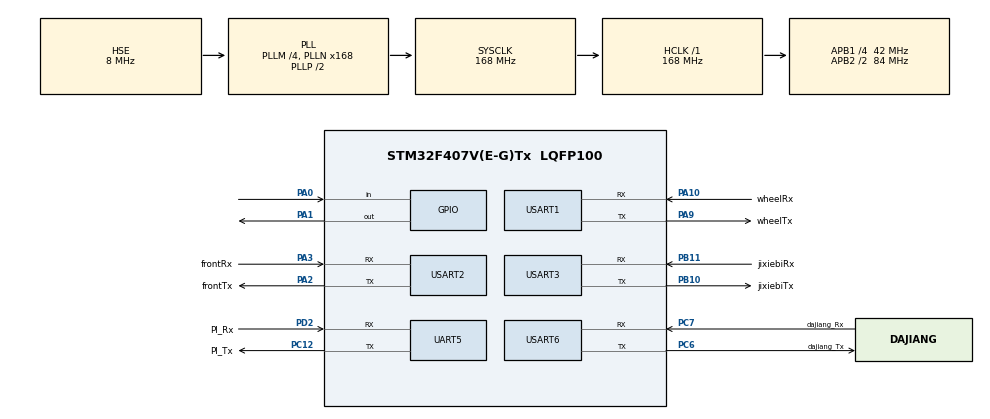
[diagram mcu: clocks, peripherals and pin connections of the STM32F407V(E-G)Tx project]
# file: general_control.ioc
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Dma.Request0=USART1_TX
Dma.Request1=USART2_TX
Dma.Request2=USART1_RX
Dma.Request3=USART2_RX
Dma.Request4=USART3_RX
Dma.Request5=USART3_TX
Dma.Request6=USART6_RX
Dma.Request7=USART6_TX
Dma.USART1_RX.2.Direction=DMA_PERIPH_TO_MEMORY
Dma.USART1_RX.2.FIFOMode=DMA_FIFOMODE_DISABLE
Dma.USART1_RX.2.Instance=DMA2_Stream2
Dma.USART1_RX.2.MemDataAlignment=DMA_MDATAALIGN_BYTE
Dma.USART1_RX.2.MemInc=DMA_MINC_ENABLE
Dma.USART1_RX.2.Mode=DMA_NORMAL
Dma.USART1_RX.2.PeriphDataAlignment=DMA_PDATAALIGN_BYTE
Dma.USART1_RX.2.PeriphInc=DMA_PINC_DISABLE
Dma.USART1_RX.2.Priority=DMA_PRIORITY_LOW
Dma.USART1_TX.0.Direction=DMA_MEMORY_TO_PERIPH
Dma.USART1_TX.0.FIFOMode=DMA_FIFOMODE_DISABLE
Dma.USART1_TX.0.Instance=DMA2_Stream7
Dma.USART1_TX.0.MemDataAlignment=DMA_MDATAALIGN_BYTE
Dma.USART1_TX.0.MemInc=DMA_MINC_ENABLE
Dma.USART1_TX.0.Mode=DMA_NORMAL
Dma.USART1_TX.0.PeriphDataAlignment=DMA_PDATAALIGN_BYTE
Dma.USART1_TX.0.PeriphInc=DMA_PINC_DISABLE
Dma.USART1_TX.0.Priority=DMA_PRIORITY_LOW
Dma.USART2_RX.3.Direction=DMA_PERIPH_TO_MEMORY
Dma.USART2_RX.3.FIFOMode=DMA_FIFOMODE_DISABLE
Dma.USART2_RX.3.Instance=DMA1_Stream5
Dma.USART2_RX.3.MemDataAlignment=DMA_MDATAALIGN_BYTE
Dma.USART2_RX.3.MemInc=DMA_MINC_ENABLE
Dma.USART2_RX.3.Mode=DMA_NORMAL
Dma.USART2_RX.3.PeriphDataAlignment=DMA_PDATAALIGN_BYTE
Dma.USART2_RX.3.PeriphInc=DMA_PINC_DISABLE
Dma.USART2_RX.3.Priority=DMA_PRIORITY_LOW
Dma.USART2_TX.1.Direction=DMA_MEMORY_TO_PERIPH
Dma.USART2_TX.1.FIFOMode=DMA_FIFOMODE_DISABLE
Dma.USART2_TX.1.Instance=DMA1_Stream6
Dma.USART2_TX.1.MemDataAlignment=DMA_MDATAALIGN_BYTE
Dma.USART2_TX.1.MemInc=DMA_MINC_ENABLE
Dma.USART2_TX.1.Mode=DMA_NORMAL
Dma.USART2_TX.1.PeriphDataAlignment=DMA_PDATAALIGN_BYTE
Dma.USART2_TX.1.PeriphInc=DMA_PINC_DISABLE
Dma.USART2_TX.1.Priority=DMA_PRIORITY_LOW
Dma.USART3_RX.4.Direction=DMA_PERIPH_TO_MEMORY
Dma.USART3_RX.4.FIFOMode=DMA_FIFOMODE_DISABLE
Dma.USART3_RX.4.Instance=DMA1_Stream1
Dma.USART3_RX.4.MemDataAlignment=DMA_MDATAALIGN_BYTE
Dma.USART3_RX.4.MemInc=DMA_MINC_ENABLE
Dma.USART3_RX.4.Mode=DMA_NORMAL
Dma.USART3_RX.4.PeriphDataAlignment=DMA_PDATAALIGN_BYTE
Dma.USART3_RX.4.PeriphInc=DMA_PINC_DISABLE
Dma.USART3_RX.4.Priority=DMA_PRIORITY_LOW
Dma.USART3_TX.5.Direction=DMA_MEMORY_TO_PERIPH
Dma.USART3_TX.5.FIFOMode=DMA_FIFOMODE_DISABLE
Dma.USART3_TX.5.Instance=DMA1_Stream3
Dma.USART3_TX.5.MemDataAlignment=DMA_MDATAALIGN_BYTE
Dma.USART3_TX.5.MemInc=DMA_MINC_ENABLE
Dma.USART3_TX.5.Mode=DMA_NORMAL
Dma.USART3_TX.5.PeriphDataAlignment=DMA_PDATAALIGN_BYTE
Dma.USART3_TX.5.PeriphInc=DMA_PINC_DISABLE
Dma.USART3_TX.5.Priority=DMA_PRIORITY_LOW
Dma.USART6_RX.6.Direction=DMA_PERIPH_TO_MEMORY
Dma.USART6_RX.6.FIFOMode=DMA_FIFOMODE_DISABLE
Dma.USART6_RX.6.Instance=DMA2_Stream1
Dma.USART6_RX.6.MemDataAlignment=DMA_MDATAALIGN_BYTE
Dma.USART6_RX.6.MemInc=DMA_MINC_ENABLE
Dma.USART6_RX.6.Mode=DMA_NORMAL
Dma.USART6_RX.6.PeriphDataAlignment=DMA_PDATAALIGN_BYTE
Dma.USART6_RX.6.PeriphInc=DMA_PINC_DISABLE
Dma.USART6_RX.6.Priority=DMA_PRIORITY_LOW
Dma.USART6_TX.7.Direction=DMA_MEMORY_TO_PERIPH
Dma.USART6_TX.7.FIFOMode=DMA_FIFOMODE_DISABLE
Dma.USART6_TX.7.Instance=DMA2_Stream6
Dma.USART6_TX.7.MemDataAlignment=DMA_MDATAALIGN_BYTE
Dma.USART6_TX.7.MemInc=DMA_MINC_ENABLE
Dma.USART6_TX.7.Mode=DMA_NORMAL
Dma.USART6_TX.7.PeriphDataAlignment=DMA_PDATAALIGN_BYTE
Dma.USART6_TX.7.PeriphInc=DMA_PINC_DISABLE
Dma.USART6_TX.7.Priority=DMA_PRIORITY_LOW
Mcu.Family=STM32F4
Mcu.Name=STM32F407V(E-G)Tx
Mcu.Package=LQFP100
NVIC.DMA1_Stream1_IRQn=true\:0\:0\:false\:false\:true\:false\:true\:true
NVIC.DMA1_Stream3_IRQn=true\:0\:0\:false\:false\:true\:false\:true\:true
NVIC.DMA1_Stream5_IRQn=true\:0\:0\:false\:false\:true\:false\:true\:true
NVIC.DMA1_Stream6_IRQn=true\:0\:0\:false\:false\:true\:false\:true\:true
NVIC.DMA2_Stream1_IRQn=true\:0\:0\:false\:false\:true\:false\:true\:true
NVIC.DMA2_Stream2_IRQn=true\:0\:0\:false\:false\:true\:false\:true\:true
NVIC.DMA2_Stream6_IRQn=true\:0\:0\:false\:false\:true\:false\:true\:true
NVIC.DMA2_Stream7_IRQn=true\:0\:0\:false\:false\:true\:false\:true\:true
NVIC.PriorityGroup=NVIC_PRIORITYGROUP_4
NVIC.USART1_IRQn=true\:0\:0\:false\:false\:true\:true\:true\:true
NVIC.USART2_IRQn=true\:0\:0\:false\:false\:true\:true\:true\:true
NVIC.USART3_IRQn=true\:0\:0\:false\:false\:true\:true\:true\:true
NVIC.USART6_IRQn=true\:0\:0\:false\:false\:true\:true\:true\:true
PA0-WKUP.GPIO_PuPd=GPIO_PULLDOWN
PA0-WKUP.Signal=GPIO_Input
PA1.GPIO_PuPd=GPIO_PULLDOWN
PA1.Signal=GPIO_Output
PA10.GPIO_Label=wheelRx
PA10.Mode=Asynchronous
PA10.Signal=USART1_RX
PA13.Mode=Serial_Wire
PA13.Signal=SYS_JTMS-SWDIO
PA14.Mode=Serial_Wire
PA14.Signal=SYS_JTCK-SWCLK
PA2.GPIO_Label=frontTx
PA2.Mode=Asynchronous
PA2.Signal=USART2_TX
PA3.GPIO_Label=frontRx
PA3.Mode=Asynchronous
PA3.Signal=USART2_RX
PA9.GPIO_Label=wheelTx
PA9.Mode=Asynchronous
PA9.Signal=USART1_TX
PB10.GPIO_Label=jixiebiTx
PB10.Mode=Asynchronous
PB10.Signal=USART3_TX
PB11.GPIO_Label=jixiebiRx
PB11.Mode=Asynchronous
PB11.Signal=USART3_RX
PC12.GPIO_Label=PI_Tx
PC12.Mode=Asynchronous
PC12.Signal=UART5_TX
PC6.GPIO_Label=dajiang_Tx
PC6.Mode=Asynchronous
PC6.Signal=USART6_TX
PC7.GPIO_Label=dajiang_Rx
PC7.Mode=Asynchronous
PC7.Signal=USART6_RX
PD2.GPIO_Label=PI_Rx
PD2.Mode=Asynchronous
PD2.Signal=UART5_RX
PH0-OSC_IN.Mode=HSE-External-Oscillator
PH0-OSC_IN.Signal=RCC_OSC_IN
PH1-OSC_OUT.Mode=HSE-External-Oscillator
PH1-OSC_OUT.Signal=RCC_OSC_OUT
ProjectManager.HeapSize=0x200
ProjectManager.StackSize=0x400
ProjectManager.TargetToolchain=MDK-ARM V5.32
RCC.48MHZClocksFreq_Value=84000000
RCC.AHBFreq_Value=168000000
RCC.APB1CLKDivider=RCC_HCLK_DIV4
RCC.APB1Freq_Value=42000000
RCC.APB1TimFreq_Value=84000000
RCC.APB2CLKDivider=RCC_HCLK_DIV2
RCC.APB2Freq_Value=84000000
RCC.APB2TimFreq_Value=168000000
RCC.CortexFreq_Value=168000000
RCC.HCLKFreq_Value=168000000
RCC.HSE_VALUE=8000000
RCC.HSI_VALUE=16000000
RCC.LSE_VALUE=32768
RCC.PLLM=4
RCC.PLLN=168
RCC.PLLSourceVirtual=RCC_PLLSOURCE_HSE
RCC.SYSCLKFreq_VALUE=168000000
RCC.SYSCLKSource=RCC_SYSCLKSOURCE_PLLCLK
RCC.VCOOutputFreq_Value=336000000
TIM2.Prescaler=16800-1
UART5.VirtualMode=Asynchronous
USART1.VirtualMode=VM_ASYNC
USART2.VirtualMode=VM_ASYNC
USART3.VirtualMode=VM_ASYNC
USART6.VirtualMode=VM_ASYNC
VP_TIM2_VS_ClockSourceINT.Mode=Internal
board=custom

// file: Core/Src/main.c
/* USER CODE BEGIN Header */
/**
  ******************************************************************************
  * @file           : main.c
  * @brief          : Main program body
  ******************************************************************************
  * @attention
  *
  * Copyright (c) 2025 STMicroelectronics.
  * All rights reserved.
  *
  * This software is licensed under terms that can be found in the LICENSE file
  * in the root directory of this software component.
  * If no LICENSE file comes with this software, it is provided AS-IS.
  *
  ******************************************************************************
  */
/* USER CODE END Header */
#include "main.h"
#include "dma.h"
#include "tim.h"
#include "usart.h"
#include "gpio.h"

/* USER CODE BEGIN Includes */
#include "stdlib.h"
#include "receive_from_pi.h"
#include "string.h"
/* USER CODE END Includes */

/* USER CODE BEGIN PTD */

// 机器人运行的主状�?
typedef enum {
	STATE_BEFORE_START,
    STATE_INIT,
    STATE_WAIT_RPI_DATA,
    STATE_PROCESS_TASK_DATA,
    STATE_START_ROBOT_POSE,
    STATE_WAIT_START_POSE_ACK,

    /* --- 以�?�列”为单位的循�? --- */
    STATE_GET_NEXT_COLUMN,          // 获取下一个要处理的货架列
    STATE_MOVE_TO_SHELF_COLUMN,     // 移动到目标货架列
    STATE_WAIT_MOVE_TO_SHELF_ACK,

    STATE_EXECUTE_DOUBLE_PICK,      // 执行“双取�?�动�?
    STATE_WAIT_DOUBLE_PICK_ACK,
	  STATE_OUTOFTIME,

    /* --- 处理第一个箱�? (上层箱子) --- */
    STATE_PLAN_TARGET_A_MOVE,       // 规划去往A目标(上层箱子)的移�?
    STATE_EXECUTE_MAJOR_MOVE_A,
    STATE_WAIT_MAJOR_MOVE_A_ACK,
//    STATE_EXECUTE_FINE_TUNE_MOVE_A,
//    STATE_WAIT_FINE_TUNE_MOVE_A_ACK,
    STATE_PLACE_BOX_A,              // 放置上层箱子
    STATE_WAIT_PLACE_BOX_A_ACK,

    /* --- 内部转接 --- */
//    STATE_EXECUTE_ARM_REGRAB,       // 执行机械臂从前爪的�?�转接�?�动�?
//    STATE_WAIT_ARM_REGRAB_ACK,

    /* --- 处理第二个箱�? (下层箱子) --- */
    STATE_PLAN_TARGET_B_MOVE,       // 规划去往B目标(下层箱子)的移�?
    STATE_EXECUTE_MAJOR_MOVE_B,
    STATE_WAIT_MAJOR_MOVE_B_ACK,
//    STATE_EXECUTE_FINE_TUNE_MOVE_B,
//    STATE_WAIT_FINE_TUNE_MOVE_B_ACK,
    STATE_PLACE_BOX_B,              // 放置下层箱子
    STATE_WAIT_PLACE_BOX_B_ACK,

    STATE_ALL_TASKS_COMPLETED,
		STATE_WAIT_OFF,
		STATE_SWITCH_OFF,
    STATE_ERROR
} RobotState_t;

typedef enum {
    ROBOT_POS_UNKNOWN,         // 未知位置
    ROBOT_POS_SHELF,           // 在货架区
    ROBOT_POS_SIDE_AREA,       // 在侧方放置区 (对应1, 6号纸�?)
    ROBOT_POS_FRONT_AREA,      // 在前方放置区 (对应2, 3, 4, 5号纸�?)
} RobotPosition_t;

// 封装�?有任务信息的结构�?
typedef struct {
	  int shelf_to_target[7];         // 货架格上箱子编号�?1-6�?
    int shelf_slot_to_area_idx[7];  // 货架�?(索引1-6) -> 目标区域索引(�?0-5, 对应a-f)

    // 孤儿箱子信息
    int orphan_box_id;              // “孤儿箱子�?�的编号 (1-6)
    int orphan_box_initial_shelf;   // "孤儿箱子"�?初所在的货架�?(1-3)

    // 执行顺序规划
    int column_run_order[3];        // 列的执行顺序
    int box_run_order[6];           // 箱子的执行顺�? (根据列顺序生�?)

    // 运行时状�?
    int current_column_idx;         // 当前执行�? column_run_order 的哪个索�?
	  int current_box_idx;
    int last_placed_target_id;      // 上一个放置的箱子对应的纸垛编�?

    // 用于临时存储当前正在处理的两个箱子的信息
    int top_box_id;
    int bottom_box_id;
} TaskInfo_t;

/* USER CODE END PTD */

/* USER CODE BEGIN PV */

// --- 全局变量 ---
uint8_t receiveData[4][10];
volatile int wheel_ack = 0;    // 轨道电机 ACK

volatile int jixiebi_ack=0;
volatile int dajiang_ack = 0;  // 水平滑台 ACK (你的代码中是huart6)
volatile RobotPosition_t current_robot_position = ROBOT_POS_UNKNOWN;
RobotState_t current_state = STATE_INIT; // 当前状�?�机状�??
TaskInfo_t task_info;                    // 当前任务信息
RecognitionResult_t recognition_data;    // 从树莓派接收的原始数�?
int ifreturn;
int posi=-1;
double start_time , current_time,duration;
/* USER CODE END PV */

void SystemClock_Config(void);

/* USER CODE BEGIN 0 */

// 根据货架格号(1-6)返回其所在的列号(1-3)
int get_column_from_shelf_slot(int slot) {
    if (slot == 1 || slot == 4) return 1;
    if (slot == 2 || slot == 5) return 2;
    if (slot == 3 || slot == 6) return 3;
    return 0; // 错误
}

/**
 * @brief  【最终版】处理数据，规划�?有任务和映射
 */
void process_and_plan_task(RecognitionResult_t* rec_data, TaskInfo_t* task) {
    // 1. 反向映射，几号纸垛放置在哪个位置
    int box_id_to_area_idx[7] = {-1, -1, -1, -1, -1, -1, -1};
    for (int j = 0; j < 6; j++) {
        if (rec_data->area_positions[j] != 0) {
            box_id_to_area_idx[rec_data->area_positions[j]] = j;
        }
    }

    // 2. 找到孤儿箱子ID

    task->orphan_box_id = 0;
    for (int k = 1; k <= 6; k++) {
        if (box_id_to_area_idx[k] == -1) {
            task->orphan_box_id = k;
            break;
        }
    }

    // 3. 构建 货架�? -> 纸垛ID �? 货架�? -> 区域索引 的双重映�?
    for (int i = 0; i < 6; i++) {
        int shelf_slot = i + 1;
        int box_id = rec_data->shelf_positions[i];
        task->shelf_to_target[shelf_slot] = box_id;
			task->shelf_slot_to_area_idx[shelf_slot] = box_id_to_area_idx[box_id];//box_id_to_area_idx[box_id]的�?�为0-5，表示纸垛区的a-f，shelf_id_to_area_idx[shelf_slot]中，shelf_slot为货架格�?1-6，故该映射为货架格号到纸垛位置的映射
        if (box_id == task->orphan_box_id) {
            task->orphan_box_initial_shelf = (shelf_slot-1)%3+1;
        }
    }

    // 4. 【按列搬运�?�规划执行顺�?
    int orphan_column = get_column_from_shelf_slot(task->orphan_box_initial_shelf);
    int column_order_idx = 0;
    for (int col = 1; col <= 3; col++) {//列号1-3
        if (col != orphan_column) task->column_run_order[column_order_idx++] = col;
    }
    task->column_run_order[column_order_idx] = orphan_column;

    // 5. 根据列顺序生成最终的箱子搬运顺序 (box_run_order)
    int run_order_idx = 0;
    for (int i = 0; i < 3; i++) {
        int current_col = task->column_run_order[i];
        int top_shelf_slot = current_col;
        int bottom_shelf_slot = current_col + 3;
        task->box_run_order[run_order_idx++] = rec_data->shelf_positions[top_shelf_slot - 1];
        task->box_run_order[run_order_idx++] = rec_data->shelf_positions[bottom_shelf_slot - 1];
    }

    // 6. 初始化任务指�?
    task->current_column_idx = 0;
    task->last_placed_target_id = 0;
}

void sendCommand_MoveToStart(){//huart1-wheel,huart2-front,huart3-jixiebi
	HAL_UART_Transmit_DMA(&huart3,"s",10);
	HAL_Delay(500);
	HAL_UART_Transmit_DMA(&huart2,"s",10);
}

void sendCommand_MoveToShelf(int column_id,int target_id) {
    // 根据 box_id 确定它在哪个货架格，然后计算水平滑台�?要移动的距离
	int last_target_id=0;
	if(task_info.current_column_idx!=0){
     last_target_id = task_info.shelf_slot_to_area_idx[task_info.column_run_order[task_info.current_column_idx-1]+3];
		 if(last_target_id==-1){
			 last_target_id=task_info.last_placed_target_id;
		 }
	}
	HAL_Delay(10);
	HAL_UART_Transmit_DMA(&huart2,"v3",10);
	HAL_Delay(10);
	if(column_id==1){
		HAL_UART_Transmit_DMA(&huart6,"A50",10);
	}else if(column_id==2){
		HAL_UART_Transmit_DMA(&huart6,"A0",5);
	}else if(column_id==3){
		HAL_UART_Transmit_DMA(&huart6,"A-52",10);
	}
	if(task_info.current_column_idx==0||last_target_id == 0){
		HAL_UART_Transmit_DMA(&huart3,"f0",10);
	}else{
		HAL_UART_Transmit_DMA(&huart3,"f2",10);
	}
	if(task_info.current_column_idx==0&&(task_info.column_run_order[0]==1||task_info.column_run_order[0]==3)){
		HAL_Delay(800);
	}else if(task_info.current_column_idx==0&&task_info.column_run_order[0]==2){
		HAL_Delay(500);
	}else if((last_target_id == 0||last_target_id == 1)&&task_info.column_run_order[task_info.current_column_idx]==1){
		HAL_Delay(1500);
	}else if((last_target_id == 4||last_target_id == 5)&&task_info.column_run_order[task_info.current_column_idx]==3){
		HAL_Delay(1500);
	}else {
		HAL_Delay(500);
	}
	HAL_UART_Transmit_DMA(&huart2,"h-2",10);
	HAL_UART_Transmit_DMA(&huart1,"a8.5",10);

}

void sendCommand_MoveTargetToTarget(RobotPosition_t targetPosition,int target_id){
	ifreturn=(posi>=1&&posi<=3&&target_id>=1&&target_id<=2)||(posi<=4&&posi>=3&&target_id>=3&&target_id<=4);
	if(current_robot_position==targetPosition&&ifreturn==1)
		return;
	if(targetPosition==ROBOT_POS_SIDE_AREA&&target_id==0){
		HAL_UART_Transmit_DMA(&huart1,"a269",5);
	}
	else if(targetPosition==ROBOT_POS_FRONT_AREA&&target_id>=1&&target_id<=3){
		HAL_UART_Transmit_DMA(&huart1,"a286.5",5);
	}else if(targetPosition==ROBOT_POS_FRONT_AREA&&target_id==4){
		HAL_UART_Transmit_DMA(&huart1,"a283",5);
	}else if(targetPosition==ROBOT_POS_SIDE_AREA&&target_id==5){
		HAL_UART_Transmit_DMA(&huart1,"a268",5);
	}
}

void sendCommand_ArmRegrab(){
	int last_target_id=0;
  last_target_id = task_info.shelf_slot_to_area_idx[task_info.column_run_order[task_info.current_column_idx]];
	if(last_target_id == 0){
		HAL_UART_Transmit_DMA(&huart3,"f0",10);
	}else {
		HAL_UART_Transmit_DMA(&huart3,"f2",10);
	}
	while(jixiebi_ack==0);
	HAL_UART_Transmit_DMA(&huart3,"g26",5);
}

void sendCommand_PickBox(){
	HAL_UART_Transmit_DMA(&huart3,"g11",10);//先机械臂夹起�?
	HAL_Delay(50);
	HAL_UART_Transmit_DMA(&huart2,"h0",10);//收缩夹住箱子
	HAL_Delay(1000);
	HAL_UART_Transmit_DMA(&huart2,"v10",10);//提升前爪
}

void sendCommand_PlaceBox(int box_id, TaskInfo_t* task,int serial_number) {
	 if(serial_number==0){
        HAL_UART_Transmit_DMA(&huart3,"n93",5);
		    while(jixiebi_ack==0);
		 if (box_id == task->orphan_box_id){
				HAL_UART_Transmit_DMA(&huart3,"p21",10);//放置
			}else {
				HAL_UART_Transmit_DMA(&huart3,"p33",10);//放置
			}
	 }else if(serial_number >= 1 && serial_number <= 4){
       	HAL_UART_Transmit_DMA(&huart3,"n-180",10);
       	while(jixiebi_ack==0);
		  if (box_id == task->orphan_box_id){
				HAL_UART_Transmit_DMA(&huart3,"p21",10);//放置
			}else {
				HAL_UART_Transmit_DMA(&huart3,"p33",10);//放置
			}
       }else if(serial_number==5){
       	HAL_UART_Transmit_DMA(&huart3,"n-91",5);
       	while(jixiebi_ack==0);
				if (box_id == task->orphan_box_id){
				HAL_UART_Transmit_DMA(&huart3,"p21",10);//放置
			}else {
				HAL_UART_Transmit_DMA(&huart3,"p33",10);//放置
			}
	 }
}

void start_clock(){
	__HAL_TIM_SetCounter(&htim2,0);
	start_time=HAL_GetTick();
	HAL_TIM_Base_Start(&htim2);

}
void calculateDuration(){
	current_time=HAL_GetTick();
	duration=(current_time-start_time)/1000;
}

/* USER CODE END 0 */

int main(void)
{

  /* MCU Configuration--------------------------------------------------------*/

  /* Reset of all peripherals, Initializes the Flash interface and the Systick. */
  HAL_Init();

  /* Configure the system clock */
  SystemClock_Config();

  /* Initialize all configured peripherals */
  MX_GPIO_Init();
  MX_DMA_Init();
  MX_USART1_UART_Init();
  MX_USART2_UART_Init();
  MX_USART3_UART_Init();
  MX_USART6_UART_Init();
  MX_UART5_Init();
  MX_TIM2_Init();
  /* USER CODE BEGIN 2 */
HAL_UART_Receive_IT(&huart1,receiveData[0],3);
HAL_UART_Receive_IT(&huart2,receiveData[1],3);
HAL_UART_Receive_IT(&huart3,receiveData[2],3);
HAL_UART_Receive_IT(&huart6,receiveData[3],3);
HAL_UART_Transmit_DMA(&huart2,"h0",5);
//recognition_data.shelf_positions[0]=3;
//recognition_data.shelf_positions[1]=4;
//recognition_data.shelf_positions[2]=2;
//recognition_data.shelf_positions[3]=5;
//recognition_data.shelf_positions[4]=6;
//recognition_data.shelf_positions[5]=1;
//recognition_data.area_positions[0]=1;
//recognition_data.area_positions[1]=2;
//recognition_data.area_positions[2]=0;
//recognition_data.area_positions[3]=4;
//recognition_data.area_positions[4]=5;
//recognition_data.area_positions[5]=6;
// 初始化接收模块，告诉它使用UART5
  rpi_init_polling(&huart5);
	HAL_TIM_Base_Init(&htim2);
	HAL_GPIO_WritePin(GPIOA,GPIO_PIN_1,GPIO_PIN_SET);
  /* USER CODE END 2 */

  /* Infinite loop */
  /* USER CODE BEGIN WHILE */
  while (1)
  {
		if(HAL_GPIO_ReadPin(GPIOA,GPIO_PIN_0)==1&&current_state==STATE_BEFORE_START){
			current_state=STATE_START_ROBOT_POSE;//修改
		}
		switch (current_state)
        {
					case STATE_BEFORE_START:{
							break;
			      }
            case STATE_INIT:{
							// 初始化任务变�?
                memset(&task_info, 0, sizeof(TaskInfo_t));
                wheel_ack = dajiang_ack = jixiebi_ack = 0;
                // 直接进入下一个状�?
                current_state = STATE_WAIT_RPI_DATA;//�?
                break;
						}

            case STATE_WAIT_RPI_DATA:{
							// 调用阻塞函数获取数据，状态机会在这里暂停直到收到数据
                // 如果有非阻塞函数，会更理想，但目前这样也可以工作
                rpi_request_and_receive_configurable_polling(
                                &recognition_data,
                                "REQUEST\n", // 主动发�?�这个信号给树莓�?
                                true,    // 启用修复
                                5,       // 尝试5次后修复货架
                                false,    // 禁用超时
                                30000);  // 30秒超�?
                current_state = STATE_PROCESS_TASK_DATA;
                break;
						}

            case STATE_PROCESS_TASK_DATA:{
							// --- 这是核心规划逻辑 ---
                process_and_plan_task(&recognition_data, &task_info);
                current_state = STATE_BEFORE_START;
							  HAL_GPIO_WritePin(GPIOA,GPIO_PIN_1,GPIO_PIN_RESET);
                break;
						}

            case STATE_START_ROBOT_POSE:{
							// 发�?�指令，让机器人移动到货架区的初始位�?
                sendCommand_MoveToStart(); //启动至货�?
							  wheel_ack=1;
                current_state = STATE_WAIT_START_POSE_ACK;
                break;
						}

            case STATE_WAIT_START_POSE_ACK:{
							if(wheel_ack == 1){
                    wheel_ack = 0; // 重置ACK
                    current_state = STATE_GET_NEXT_COLUMN;
                }
                // 此处可以添加超时逻辑
                break;
						}

            case STATE_GET_NEXT_COLUMN:{
							if (task_info.current_column_idx >= 3) { // 承朿6个箱子都处理完了
                    current_state = STATE_ALL_TASKS_COMPLETED;
                } else {
                    current_state = STATE_MOVE_TO_SHELF_COLUMN;
                }
                break;
						}

            case STATE_MOVE_TO_SHELF_COLUMN:
                {
									int is_orphan = (task_info.bottom_box_id == task_info.orphan_box_id);
                  int target_id = is_orphan ? task_info.last_placed_target_id : task_info.shelf_slot_to_area_idx[task_info.column_run_order[task_info.current_column_idx]+3];
                  int shelf_column_id = task_info.column_run_order[task_info.current_column_idx];
									task_info.bottom_box_id=recognition_data.shelf_positions[shelf_column_id+2];
									task_info.top_box_id=recognition_data.shelf_positions[shelf_column_id-1];
								  wheel_ack = dajiang_ack=0;

										sendCommand_MoveToShelf(shelf_column_id,target_id);

                    current_state = STATE_WAIT_MOVE_TO_SHELF_ACK;
                }
                break;

            case STATE_WAIT_MOVE_TO_SHELF_ACK:{
							if ((dajiang_ack >= 1)&&(wheel_ack>=1)) {
                    wheel_ack = dajiang_ack = jixiebi_ack = 0;
                    current_state = STATE_EXECUTE_DOUBLE_PICK;
									  current_robot_position=ROBOT_POS_SHELF;
                }
                break;
						}

            case STATE_EXECUTE_DOUBLE_PICK:{
							sendCommand_PickBox();
                // 根据取货动作序列，设置期望的ACK数量
							start_clock();
                current_state = STATE_WAIT_DOUBLE_PICK_ACK;
                break;
						}

            case STATE_WAIT_DOUBLE_PICK_ACK:{
							calculateDuration();
							if (jixiebi_ack >= 1) { // 棿查是否收到承有ACK
								jixiebi_ack = 0;
                    current_state = STATE_PLAN_TARGET_A_MOVE;
								    HAL_GPIO_WritePin(GPIOA,GPIO_PIN_1,GPIO_PIN_SET);
                }else if(duration>=3){
							  	  HAL_TIM_Base_Stop(&htim2);
							  	  TIM2->CNT = 0;
							  	  HAL_GPIO_WritePin(GPIOA,GPIO_PIN_1,GPIO_PIN_RESET);
							  	  current_state=STATE_OUTOFTIME;
							  }

                break;
						}
						case STATE_OUTOFTIME:{
							jixiebi_ack = 1;
							current_state=STATE_WAIT_DOUBLE_PICK_ACK;
							start_clock();
							break;
						}

            case STATE_PLAN_TARGET_A_MOVE:{
                int is_orphan = (task_info.top_box_id == task_info.orphan_box_id);
                int target_id = is_orphan ? task_info.last_placed_target_id : task_info.shelf_slot_to_area_idx[task_info.column_run_order[task_info.current_column_idx]];

                RobotPosition_t required_pos = (target_id == 0 || target_id == 5) ? ROBOT_POS_SIDE_AREA : ROBOT_POS_FRONT_AREA;

                if (current_robot_position != required_pos) {
                    // �?要进行大的跨区域移动
                    current_state = STATE_EXECUTE_MAJOR_MOVE_A;
                } else {
                    current_state = STATE_PLACE_BOX_A;
                }
            }
            break;

        case STATE_EXECUTE_MAJOR_MOVE_A:{ // 执行大的跨区域移�?
                int is_orphan = (task_info.top_box_id == task_info.orphan_box_id);
                int target_id = is_orphan ? task_info.last_placed_target_id : task_info.shelf_slot_to_area_idx[task_info.column_run_order[task_info.current_column_idx]];
                RobotPosition_t required_pos = (target_id == 0 || target_id == 5) ? ROBOT_POS_SIDE_AREA : ROBOT_POS_FRONT_AREA;
					//执行函数
					      wheel_ack = dajiang_ack = 0;

                sendCommand_MoveTargetToTarget(required_pos,target_id);
					      HAL_UART_Transmit_DMA(&huart2,"v20",5);
					      HAL_Delay(500);
			         	 if(target_id==0){
		            	HAL_UART_Transmit_DMA(&huart6,"A-45",5);
		            }else if(target_id==1){
		            	HAL_UART_Transmit_DMA(&huart6,"A-68",5);
		            }else if(target_id==2){
		            	HAL_UART_Transmit_DMA(&huart6,"A-23",5);
		            }else if(target_id==3){
		            	HAL_UART_Transmit_DMA(&huart6,"A23",5);
		            }else if(target_id==4){
		            	HAL_UART_Transmit_DMA(&huart6,"A68",5);
		            }else if(target_id==5){
		            	HAL_UART_Transmit_DMA(&huart6,"A45",5);
		            }

                current_state = STATE_WAIT_MAJOR_MOVE_A_ACK;
            }
            break;

        case STATE_WAIT_MAJOR_MOVE_A_ACK:{
					if (wheel_ack >= 1 && dajiang_ack >= 1) { // 等待轨道电机(huart1)的确�?
                wheel_ack = dajiang_ack = 0;

                // 【重要㿑移动完成后，更新当前位置状�??
                int is_orphan = (task_info.top_box_id == task_info.orphan_box_id);
                int target_id = is_orphan ? task_info.last_placed_target_id : task_info.shelf_slot_to_area_idx[task_info.column_run_order[task_info.current_column_idx]];
                current_robot_position = (target_id == 0 || target_id == 5) ? ROBOT_POS_SIDE_AREA : ROBOT_POS_FRONT_AREA;
                current_state = STATE_PLACE_BOX_A;
            }
            break;
				} // 等待大的跨区域移动完�?

            case STATE_PLACE_BOX_A:{
                    int box_id_to_place = task_info.top_box_id;
									  int area_idx_to_go;
									  if (box_id_to_place == task_info.orphan_box_id) {
                    // 如果是孤儿箱子，我们要找到它叠放的目标箱�?(last_placed_target_id)�?在的区域
                    // 这需要我们反向查找一�? (或�?�在规划时也存一下这个映�?)
                    // 为了�?单，我们先假设�?�能找到
                    int final_target_id = task_info.last_placed_target_id;
                    area_idx_to_go=final_target_id;
                } else {
                    // 对于普�?�箱子，直接查找它自己应该去的区域索�?
                    for(int i=1; i<=6; i++){
                        if(task_info.shelf_to_target[i] == box_id_to_place){
                             area_idx_to_go = task_info.shelf_slot_to_area_idx[i];
                             break;
                        }
                    }
                }
								    wheel_ack = dajiang_ack = jixiebi_ack = 0;
								//执行函数
                    sendCommand_PlaceBox(box_id_to_place, &task_info , area_idx_to_go);

                    current_state = STATE_WAIT_PLACE_BOX_A_ACK;
                }
                break;

            case STATE_WAIT_PLACE_BOX_A_ACK:{
							int area_idx_to_go=task_info.shelf_slot_to_area_idx[task_info.column_run_order[task_info.current_column_idx]];
							if(task_info.orphan_box_id==task_info.top_box_id){
							  area_idx_to_go=task_info.last_placed_target_id;
						  }
							if((area_idx_to_go>=1&&area_idx_to_go<=4)&&jixiebi_ack >= 2){
                    jixiebi_ack = 0;

                    // 更新上一个放置的ID，为孤儿箱子做准�?
                    int placed_id = task_info.shelf_slot_to_area_idx[task_info.column_run_order[task_info.current_column_idx]];
									  int placed_box_id = task_info.top_box_id;
                    if (placed_box_id != task_info.orphan_box_id) {
                        task_info.last_placed_target_id = placed_id;
                    }

                    current_state = STATE_PLAN_TARGET_B_MOVE;
							}else if((area_idx_to_go==0||area_idx_to_go==5)&&jixiebi_ack >=2){
								wheel_ack = jixiebi_ack = 0;
								current_state = STATE_PLAN_TARGET_B_MOVE;
							}

                break;
						}

							// ----- 放置下层箱子 (B) -----
        case STATE_PLAN_TARGET_B_MOVE:{
                int is_orphan = (task_info.bottom_box_id == task_info.orphan_box_id);
                int target_id = is_orphan ? task_info.last_placed_target_id : task_info.shelf_slot_to_area_idx[task_info.column_run_order[task_info.current_column_idx]+3];
                RobotPosition_t required_pos = (target_id == 0 || target_id == 5) ? ROBOT_POS_SIDE_AREA : ROBOT_POS_FRONT_AREA;
                if(current_robot_position != required_pos) current_state = STATE_EXECUTE_MAJOR_MOVE_B;
                else current_state = STATE_PLACE_BOX_B;
					sendCommand_ArmRegrab();

							if(target_id==0){
		            	HAL_UART_Transmit_DMA(&huart6,"A-45",5);
		            }else if(target_id==1){
		            	HAL_UART_Transmit_DMA(&huart6,"A-68",5);
		            }else if(target_id==2){
		            	HAL_UART_Transmit_DMA(&huart6,"A-23",5);
		            }else if(target_id==3){
		            	HAL_UART_Transmit_DMA(&huart6,"A23",5);
		            }else if(target_id==4){
		            	HAL_UART_Transmit_DMA(&huart6,"A68",5);
		            }else if(target_id==5){
		            	HAL_UART_Transmit_DMA(&huart6,"A45",5);
		            }

            }
            break;
        case STATE_EXECUTE_MAJOR_MOVE_B:{
                int is_orphan = (task_info.bottom_box_id == task_info.orphan_box_id);
                int target_id = is_orphan ? task_info.last_placed_target_id : task_info.shelf_slot_to_area_idx[task_info.column_run_order[task_info.current_column_idx]+3];
                RobotPosition_t required_pos = (target_id == 0 || target_id == 5) ? ROBOT_POS_SIDE_AREA : ROBOT_POS_FRONT_AREA;
                //执行函数

					      sendCommand_MoveTargetToTarget(required_pos,target_id);

					      wheel_ack=0;
                current_state = STATE_WAIT_MAJOR_MOVE_B_ACK;
            }
            break;
        case STATE_WAIT_MAJOR_MOVE_B_ACK:{
					if(wheel_ack >= 1 && dajiang_ack >= 1){
                wheel_ack = dajiang_ack = 0;
                int is_orphan = (task_info.bottom_box_id == task_info.orphan_box_id);
                int target_id = is_orphan ? task_info.last_placed_target_id : task_info.shelf_slot_to_area_idx[task_info.column_run_order[task_info.current_column_idx]+3];
                current_robot_position = (target_id == 0 || target_id == 5) ? ROBOT_POS_SIDE_AREA : ROBOT_POS_FRONT_AREA;
                current_state = STATE_PLACE_BOX_B;
            }
            break;
				}

						case STATE_PLACE_BOX_B:{
							int box_id_to_place = task_info.bottom_box_id;
							int area_idx_to_go;
							int is_orphan = (task_info.bottom_box_id == task_info.orphan_box_id);
							int target_id = is_orphan ? task_info.last_placed_target_id : task_info.shelf_slot_to_area_idx[task_info.column_run_order[task_info.current_column_idx]+3];
						  if (box_id_to_place == task_info.orphan_box_id) {
                    // 如果是孤儿箱子，我们要找到它叠放的目标箱�?(last_placed_target_id)承在的区�?
                    // 这需要我们反向查找一�? (或迅在规划时也存�?下这个映�?)
                    // 为了箿单，我们先假设濻能找到
								if(task_info.last_placed_target_id==task_info.shelf_slot_to_area_idx[task_info.column_run_order[task_info.current_column_idx]]){
									area_idx_to_go = task_info.last_placed_target_id;
								}else if(task_info.shelf_slot_to_area_idx[task_info.column_run_order[task_info.current_column_idx]]==0){
									if(recognition_data.area_positions[1]==0){
										target_id=2;
									}else if(recognition_data.area_positions[2]==0){
										target_id=1;
									}else {
										target_id=2;
									}
								}else if(task_info.shelf_slot_to_area_idx[task_info.column_run_order[task_info.current_column_idx]]==5){
									if(recognition_data.area_positions[4]==0){
										target_id=3;
									}else if(recognition_data.area_positions[3]==0){
										target_id=4;
									}else {
										target_id=3;
									}
								}

                } else {
                    // 对于普鿚箱子，直接查找它自己应该去的区域索弿
                    for(int i=1; i<=6; i++){
                        if(task_info.shelf_to_target[i] == box_id_to_place){
                             area_idx_to_go = task_info.shelf_slot_to_area_idx[i];
                             break;
                        }
                    }
                }
								    wheel_ack = dajiang_ack = 0;
								//执行函数
								if(jixiebi_ack >= 2){
									  jixiebi_ack = 0;
									  sendCommand_PlaceBox(box_id_to_place, &task_info , area_idx_to_go);

                    current_state = STATE_WAIT_PLACE_BOX_B_ACK;
								}

                }
                break;

           case STATE_WAIT_PLACE_BOX_B_ACK:{
						 int area_idx_to_go=task_info.shelf_slot_to_area_idx[task_info.column_run_order[task_info.current_column_idx]+3];
						 if(task_info.orphan_box_id==task_info.bottom_box_id){
							 area_idx_to_go=task_info.last_placed_target_id;
						 }
						 if((area_idx_to_go>=1&&area_idx_to_go<=4)&&jixiebi_ack>=2){
                    wheel_ack = jixiebi_ack = 0;

                    // 更新上一个放置的ID，为孤儿箱子做准�?
                    int placed_id = task_info.shelf_slot_to_area_idx[task_info.column_run_order[task_info.current_column_idx]+3];
									  int placed_box_id=task_info.bottom_box_id;
                    if (placed_box_id != task_info.orphan_box_id) {
                        task_info.last_placed_target_id = placed_id;
                    }
                    task_info.current_column_idx++;
                    current_state = STATE_GET_NEXT_COLUMN;
							}else if((area_idx_to_go==0||area_idx_to_go==5)&&jixiebi_ack>=2){
								wheel_ack = jixiebi_ack = 0;
								task_info.current_column_idx++;
								current_state = STATE_GET_NEXT_COLUMN;
							}
                break;
					 }

            case STATE_ALL_TASKS_COMPLETED:{
							// 可以在这里闪灯或发鿁完成信叿
                // 然后可以回到空闲状濁或停�?
						  HAL_UART_Transmit_DMA(&huart1,"a50",5);//移动到中心线左侧停止
							HAL_UART_Transmit_DMA(&huart6,"A0",5);
							HAL_UART_Transmit_DMA(&huart2,"v0",5);
							current_state=STATE_WAIT_OFF;
//                while(1) {
//                    // Mission Complete
//                }
                break;
						}
            case STATE_WAIT_OFF:{

							if(wheel_ack>=1){
								current_state=STATE_SWITCH_OFF;
							}
							break;

						}

						case STATE_SWITCH_OFF:{
							return 0;
						}

            case STATE_ERROR:{
							// 停止承有电机，闪烁错误LED
                while(1) {
                    // Error Halt
                }
                break;
						}

        }

    /* USER CODE END WHILE */

  }
}

void SystemClock_Config(void)
{
  RCC_OscInitTypeDef RCC_OscInitStruct = {0};
  RCC_ClkInitTypeDef RCC_ClkInitStruct = {0};

  /** Configure the main internal regulator output voltage
  */
  __HAL_RCC_PWR_CLK_ENABLE();
  __HAL_PWR_VOLTAGESCALING_CONFIG(PWR_REGULATOR_VOLTAGE_SCALE1);

  /** Initializes the RCC Oscillators according to the specified parameters
  * in the RCC_OscInitTypeDef structure.
  */
  RCC_OscInitStruct.OscillatorType = RCC_OSCILLATORTYPE_HSE;
  RCC_OscInitStruct.HSEState = RCC_HSE_ON;
  RCC_OscInitStruct.PLL.PLLState = RCC_PLL_ON;
  RCC_OscInitStruct.PLL.PLLSource = RCC_PLLSOURCE_HSE;
  RCC_OscInitStruct.PLL.PLLM = 4;
  RCC_OscInitStruct.PLL.PLLN = 168;
  RCC_OscInitStruct.PLL.PLLP = RCC_PLLP_DIV2;
  RCC_OscInitStruct.PLL.PLLQ = 4;
  if (HAL_RCC_OscConfig(&RCC_OscInitStruct) != HAL_OK)
  {
    Error_Handler();
  }

  /** Initializes the CPU, AHB and APB buses clocks
  */
  RCC_ClkInitStruct.ClockType = RCC_CLOCKTYPE_HCLK|RCC_CLOCKTYPE_SYSCLK
                              |RCC_CLOCKTYPE_PCLK1|RCC_CLOCKTYPE_PCLK2;
  RCC_ClkInitStruct.SYSCLKSource = RCC_SYSCLKSOURCE_PLLCLK;
  RCC_ClkInitStruct.AHBCLKDivider = RCC_SYSCLK_DIV1;
  RCC_ClkInitStruct.APB1CLKDivider = RCC_HCLK_DIV4;
  RCC_ClkInitStruct.APB2CLKDivider = RCC_HCLK_DIV2;

  if (HAL_RCC_ClockConfig(&RCC_ClkInitStruct, FLASH_LATENCY_5) != HAL_OK)
  {
    Error_Handler();
  }
}

/* USER CODE BEGIN 4 */

void HAL_UART_RxCpltCallback(UART_HandleTypeDef *huart){
	if(huart->Instance==USART1){
		if(receiveData[0][0]=='1'&&receiveData[0][1]=='\r'){
			wheel_ack++;
			receiveData[0][0]='0';

		}HAL_UART_Receive_IT(&huart1,receiveData[0],3);
	}
		if(huart->Instance==USART2){
			if(receiveData[1][0]=='1'&&receiveData[1][1]=='\r'){
			receiveData[1][0]='0';

		}HAL_UART_Receive_IT(&huart2,receiveData[1],3);
		}
		if(huart->Instance==USART3){
			if(receiveData[2][0]=='1'&&receiveData[2][1]=='\r'){
			jixiebi_ack++;
			receiveData[2][0]='0';

		}HAL_UART_Receive_IT(&huart3,receiveData[2],3);
		}
		if(huart->Instance==USART6){
			if(receiveData[3][0]=='1'&&receiveData[3][1]=='\r'){
			dajiang_ack++;
			receiveData[3][0]='0';

		}HAL_UART_Receive_IT(&huart6,receiveData[3],3);
		}
}
/* USER CODE END 4 */

void Error_Handler(void)
{
  __disable_irq();
  while (1)
  {
  }
}
